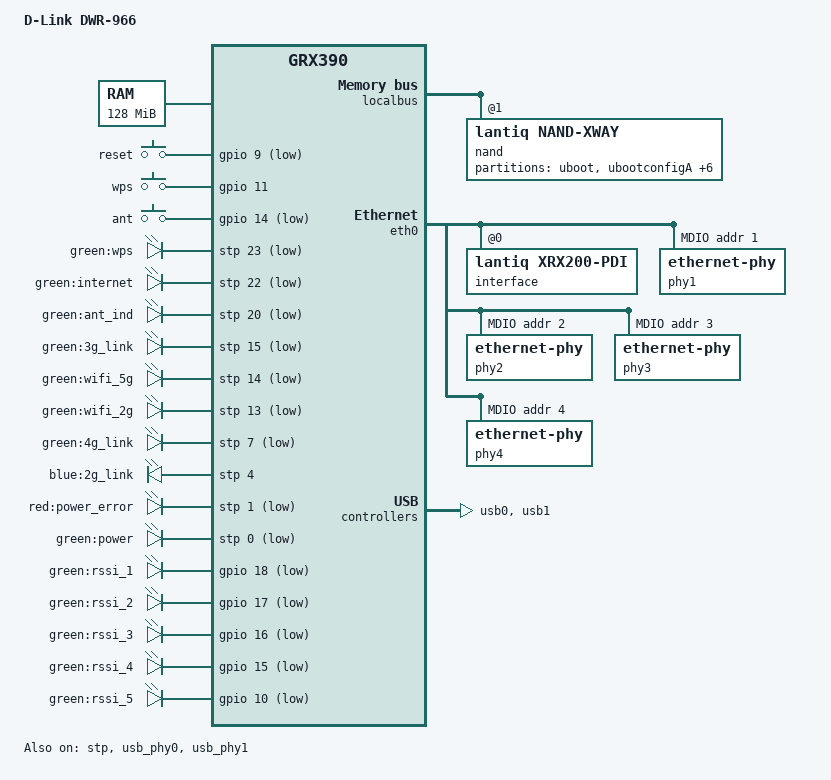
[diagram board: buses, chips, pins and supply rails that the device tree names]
// SPDX-License-Identifier: GPL-2.0-or-later OR MIT
/dts-v1/;

#include "xrx330.dtsi"

#include <dt-bindings/input/input.h>

/ {
	compatible = "dlink,dwr-966", "lantiq,xway", "lantiq,grx390";
	model = "D-Link DWR-966";

	chosen {
		bootargs = "console=ttyLTQ0,115200";
	};

	memory@0 {
		reg = <0x0 0x8000000>;
	};

	aliases {
		led-boot = &led_power_error;
		led-failsafe = &led_power_error;
		led-running = &led_power;
		led-upgrade = &led_power_error;

		led-internet = &led_internet;
		led-wifi = &led_wifi_2g;
	};

	keys {
		compatible = "gpio-keys-polled";
		poll-interval = <100>;

		reset {
			label = "reset";
			gpios = <&gpio 9 GPIO_ACTIVE_LOW>;
			linux,code = <KEY_RESTART>;
		};

		wps {
			label = "wps";
			gpios = <&gpio 11 GPIO_ACTIVE_HIGH>;
			linux,code = <KEY_WPS_BUTTON>;
		};

		ant {
			label = "ant";
			gpios = <&gpio 14 GPIO_ACTIVE_LOW>;
			linux,code = <BTN_0>;
		};
	};

	leds {
		compatible = "gpio-leds";

		wps {
			label = "green:wps";
			gpios = <&stp 23 GPIO_ACTIVE_LOW>;
		};

		led_internet: internet {
			label = "green:internet";
			gpios = <&stp 22 GPIO_ACTIVE_LOW>;
		};

		ant_ind {
			label = "green:ant_ind";
			gpios = <&stp 20 GPIO_ACTIVE_LOW>;
		};

		3g_link {
			label = "green:3g_link";
			gpios = <&stp 15 GPIO_ACTIVE_LOW>;
		};

		wifi_5g {
			label = "green:wifi_5g";
			gpios = <&stp 14 GPIO_ACTIVE_LOW>;
		};

		led_wifi_2g: wifi_2g {
			label = "green:wifi_2g";
			gpios = <&stp 13 GPIO_ACTIVE_LOW>;
		};

		4g_link {
			label = "green:4g_link";
			gpios = <&stp 7 GPIO_ACTIVE_LOW>;
		};

		2g_link {
			label = "blue:2g_link";
			gpios = <&stp 4 GPIO_ACTIVE_HIGH>;
		};

		led_power_error: power_error {
			label = "red:power_error";
			gpios = <&stp 1 GPIO_ACTIVE_LOW>;
		};

		led_power: power {
			label = "green:power";
			gpios = <&stp 0 GPIO_ACTIVE_LOW>;
		};

		rssi_1 {
			label = "green:rssi_1";
			gpios = <&gpio 18 GPIO_ACTIVE_LOW>;
		};

		rssi_2 {
			label = "green:rssi_2";
			gpios = <&gpio 17 GPIO_ACTIVE_LOW>;
		};

		rssi_3 {
			label = "green:rssi_3";
			gpios = <&gpio 16 GPIO_ACTIVE_LOW>;
		};

		rssi_4 {
			label = "green:rssi_4";
			gpios = <&gpio 15 GPIO_ACTIVE_LOW>;
		};

		rssi_5 {
			label = "green:rssi_5";
			gpios = <&gpio 10 GPIO_ACTIVE_LOW>;
		};
	};
};

&localbus {
	nand@1 {
		compatible = "lantiq,nand-xway";
		lantiq,cs = <1>;
		bank-width = <2>;
		reg = <1 0x0 0x2000000>;
		#address-cells = <1>;
		#size-cells = <1>;

		partitions {
			compatible = "fixed-partitions";
			#address-cells = <1>;
			#size-cells = <1>;

			partition@0 {
				label = "uboot";
				reg = <0x0 0x100000>;
				read-only;
			};

			partition@100000 {
				label = "ubootconfigA";
				reg = <0x100000 0x40000>;
				read-only;
			};

			partition@140000 {
				label = "ubootconfigB";
				reg = <0x140000 0x40000>;
				read-only;
			};

			partition@180000 {
				label = "gphyfirmware";
				read-only;
				reg = <0x180000 0x40000>;
			};

			partition@1c0000 {
				label = "ubi";
				reg = <0x1c0000 0x7c00000>;
			};

			partition@7dc0000 {
				label = "calibration";
				reg = <0x7dc0000 0x100000>;
				read-only;
			};

			partition@7ec0000 {
				label = "factory";
				reg = <0x7ec0000 0x100000>;
				read-only;
			};

			partition@7fc0000 {
				label = "res";
				reg = <0x7fc0000 0x40000>;
				read-only;
			};
		};
	};
};

&eth0 {
	interface@0 {
		compatible = "lantiq,xrx200-pdi";
		#address-cells = <1>;
		#size-cells = <0>;
		reg = <0>;
		mac-address = [ 00 11 22 33 44 55 ];
		lantiq,switch;

		ethernet@1 {
			compatible = "lantiq,xrx200-pdi-port";
			reg = <1>;
			phy-mode = "gmii";
			phy-handle = <&phy1>;
		};

		ethernet@2 {
			compatible = "lantiq,xrx200-pdi-port";
			reg = <2>;
			phy-mode = "gmii";
			phy-handle = <&phy2>;
		};

		ethernet@3 {
			compatible = "lantiq,xrx200-pdi-port";
			reg = <3>;
			phy-mode = "gmii";
			phy-handle = <&phy3>;
		};

		ethernet@4 {
			compatible = "lantiq,xrx200-pdi-port";
			reg = <4>;
			phy-mode = "gmii";
			phy-handle = <&phy4>;
		};
	};

	mdio@0 {
		#address-cells = <1>;
		#size-cells = <0>;
		compatible = "lantiq,xrx200-mdio";
		reg = <0>;

		phy1: ethernet-phy@1 {
			reg = <0x1>;
		};

		phy2: ethernet-phy@2 {
			reg = <0x2>;
		};

		phy3: ethernet-phy@3 {
			reg = <0x3>;
		};

		phy4: ethernet-phy@4 {
			reg = <0x4>;
		};
	};
};

&gpio {
	pinctrl-names = "default";
	pinctrl-0 = <&state_default>;

	state_default: pinmux {
		mdio {
			lantiq,groups = "mdio";
			lantiq,function = "mdio";
		};

		nand_out {
			lantiq,groups = "nand cle",
					"nand ale",
					"nand rd",
					"nand d1",
					"nand d0",
					"nand d2",
					"nand d7",
					"nand d6",
					"nand d5",
					"nand d4",
					"nand d3",
					"nand wr",
					"nand wp",
					"nand se";
			lantiq,function = "ebu";
			lantiq,output = <1>;
			lantiq,open-drain = <0>;
			lantiq,pull = <0>;
		};

		nand {
			lantiq,groups = "nand cs1", "nand rdy";
			lantiq,function = "ebu";
			lantiq,pull = <0>;
		};
	};
};

&stp {
	status = "okay";
	lantiq,phy1 = <0x2>;
	lantiq,phy2 = <0x2>;
	lantiq,phy3 = <0x2>;
	lantiq,phy4 = <0x2>;
};

&usb_phy0 {
	status = "okay";
};

&usb0 {
	status = "okay";
};

&usb_phy1 {
	status = "okay";
};

&usb1 {
	status = "okay";
};
